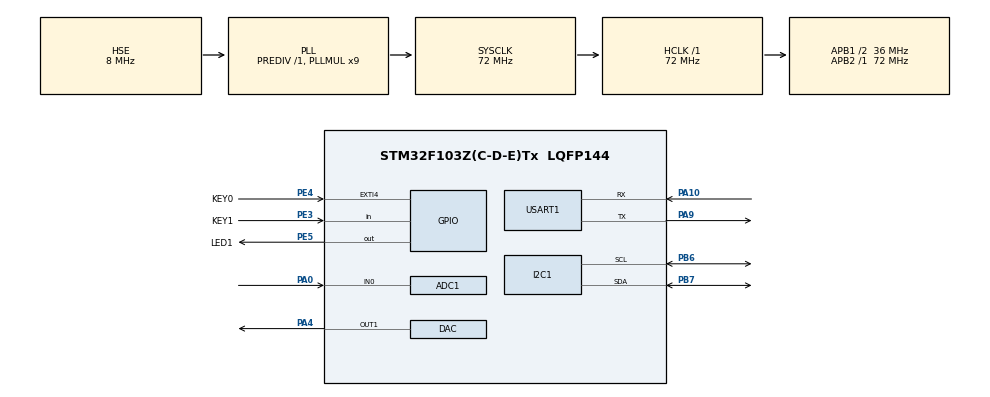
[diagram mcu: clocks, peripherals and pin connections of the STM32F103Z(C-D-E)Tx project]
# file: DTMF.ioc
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ADC1.Channel-0\#ChannelRegularConversion=ADC_CHANNEL_0
ADC1.ContinuousConvMode=ENABLE
ADC1.NbrOfConversion=1
ADC1.NbrOfConversionFlag=1
ADC1.Rank-0\#ChannelRegularConversion=1
ADC1.SamplingTime-0\#ChannelRegularConversion=ADC_SAMPLETIME_239CYCLES_5
ADC1.master=1
Mcu.Family=STM32F1
Mcu.Name=STM32F103Z(C-D-E)Tx
Mcu.Package=LQFP144
NVIC.PriorityGroup=NVIC_PRIORITYGROUP_4
NVIC.TIM6_IRQn=true\:0\:0\:false\:false\:true\:true\:true\:true
NVIC.TIM7_IRQn=true\:2\:0\:true\:false\:true\:true\:true\:true
NVIC.USART1_IRQn=true\:0\:0\:false\:false\:true\:true\:true\:true
OSC_IN.Mode=HSE-External-Oscillator
OSC_IN.Signal=RCC_OSC_IN
OSC_OUT.Mode=HSE-External-Oscillator
OSC_OUT.Signal=RCC_OSC_OUT
PA0-WKUP.Signal=ADCx_IN0
PA10.Mode=Asynchronous
PA10.Signal=USART1_RX
PA13.Mode=Serial_Wire
PA13.Signal=SYS_JTMS-SWDIO
PA14.Mode=Serial_Wire
PA14.Signal=SYS_JTCK-SWCLK
PA4.Signal=COMP_DAC1_group
PA9.Mode=Asynchronous
PA9.Signal=USART1_TX
PB6.Mode=I2C
PB6.Signal=I2C1_SCL
PB7.Mode=I2C
PB7.Signal=I2C1_SDA
PE3.GPIO_Label=KEY1
PE3.GPIO_PuPd=GPIO_PULLUP
PE3.Signal=GPIO_Input
PE4.GPIO_Label=KEY0
PE4.GPIO_PuPd=GPIO_PULLUP
PE4.Signal=GPXTI4
PE5.GPIO_Label=LED1
PE5.PinState=GPIO_PIN_SET
PE5.Signal=GPIO_Output
ProjectManager.HeapSize=0x200
ProjectManager.StackSize=0x400
ProjectManager.TargetToolchain=MDK-ARM V5.32
RCC.ADCPresc=RCC_ADCPCLK2_DIV6
RCC.AHBFreq_Value=72000000
RCC.APB1CLKDivider=RCC_HCLK_DIV2
RCC.APB1Freq_Value=36000000
RCC.APB1TimFreq_Value=72000000
RCC.APB2Freq_Value=72000000
RCC.APB2TimFreq_Value=72000000
RCC.HCLKFreq_Value=72000000
RCC.PLLMUL=RCC_PLL_MUL9
RCC.PLLSourceVirtual=RCC_PLLSOURCE_HSE
RCC.SYSCLKFreq_VALUE=72000000
RCC.SYSCLKSource=RCC_SYSCLKSOURCE_PLLCLK
RCC.USBFreq_Value=72000000
SH.ADCx_IN0.0=ADC1_IN0,IN0
SH.COMP_DAC1_group.0=DAC_OUT1,DAC_OUT1
TIM6.Period=1000-1
TIM6.Prescaler=72-1
TIM7.Period=1000-1
TIM7.Prescaler=9-1
USART1.VirtualMode=VM_ASYNC
VP_TIM6_VS_ClockSourceINT.Mode=Enable_Timer
VP_TIM7_VS_ClockSourceINT.Mode=Enable_Timer
board=custom

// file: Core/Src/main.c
/* USER CODE BEGIN Header */
/**
  ******************************************************************************
  * @file           : main.c
  * @brief          : Main program body
  ******************************************************************************
  * @attention
  *
  * Copyright (c) 2022 STMicroelectronics.
  * All rights reserved.
  *
  * This software is licensed under terms that can be found in the LICENSE file
  * in the root directory of this software component.
  * If no LICENSE file comes with this software, it is provided AS-IS.
  *
  ******************************************************************************
  */
/* USER CODE END Header */
#include "main.h"
#include "adc.h"
#include "dac.h"
#include "i2c.h"
#include "tim.h"
#include "usart.h"
#include "gpio.h"

/* USER CODE BEGIN Includes */
#include "oled.h"
#include "task.h"
#include "DTMF.h"
#include "stdio.h"
/* USER CODE END Includes */

void SystemClock_Config(void);
/* USER CODE BEGIN PFP */
uint8_t flag = 0;
uint8_t playing_flag = 0;
/* USER CODE END PFP */

/* USER CODE BEGIN 0 */
uint16_t buffer[16000];
/* USER CODE END 0 */

int main(void)
{

  /* MCU Configuration--------------------------------------------------------*/

  /* Reset of all peripherals, Initializes the Flash interface and the Systick. */
  HAL_Init();

  /* Configure the system clock */
  SystemClock_Config();

  /* Initialize all configured peripherals */
  MX_GPIO_Init();
  MX_I2C1_Init();
  MX_TIM6_Init();
  MX_ADC1_Init();
  MX_TIM7_Init();
  MX_USART1_UART_Init();
  MX_DAC_Init();
  /* USER CODE BEGIN 2 */
	HAL_TIM_Base_Start_IT(&htim6);
	HAL_TIM_Base_Start_IT(&htim7);
	HAL_ADCEx_Calibration_Start(&hadc1);
	HAL_ADC_Start(&hadc1);
	HAL_DAC_Start(&hdac,DAC_CHANNEL_1);

	OLED_Init();
	OLED_Clear();

  /* USER CODE END 2 */

  /* Infinite loop */
  while (1)
  {

    /* USER CODE BEGIN 3 */
		if(flag == 1)
		{
			flag = 0;
			AllTask();
		}
  }
  /* USER CODE END 3 */
}

void SystemClock_Config(void)
{
  RCC_OscInitTypeDef RCC_OscInitStruct = {0};
  RCC_ClkInitTypeDef RCC_ClkInitStruct = {0};
  RCC_PeriphCLKInitTypeDef PeriphClkInit = {0};

  /** Initializes the RCC Oscillators according to the specified parameters
  * in the RCC_OscInitTypeDef structure.
  */
  RCC_OscInitStruct.OscillatorType = RCC_OSCILLATORTYPE_HSE;
  RCC_OscInitStruct.HSEState = RCC_HSE_ON;
  RCC_OscInitStruct.HSEPredivValue = RCC_HSE_PREDIV_DIV1;
  RCC_OscInitStruct.HSIState = RCC_HSI_ON;
  RCC_OscInitStruct.PLL.PLLState = RCC_PLL_ON;
  RCC_OscInitStruct.PLL.PLLSource = RCC_PLLSOURCE_HSE;
  RCC_OscInitStruct.PLL.PLLMUL = RCC_PLL_MUL9;
  if (HAL_RCC_OscConfig(&RCC_OscInitStruct) != HAL_OK)
  {
    Error_Handler();
  }

  /** Initializes the CPU, AHB and APB buses clocks
  */
  RCC_ClkInitStruct.ClockType = RCC_CLOCKTYPE_HCLK|RCC_CLOCKTYPE_SYSCLK
                              |RCC_CLOCKTYPE_PCLK1|RCC_CLOCKTYPE_PCLK2;
  RCC_ClkInitStruct.SYSCLKSource = RCC_SYSCLKSOURCE_PLLCLK;
  RCC_ClkInitStruct.AHBCLKDivider = RCC_SYSCLK_DIV1;
  RCC_ClkInitStruct.APB1CLKDivider = RCC_HCLK_DIV2;
  RCC_ClkInitStruct.APB2CLKDivider = RCC_HCLK_DIV1;

  if (HAL_RCC_ClockConfig(&RCC_ClkInitStruct, FLASH_LATENCY_2) != HAL_OK)
  {
    Error_Handler();
  }
  PeriphClkInit.PeriphClockSelection = RCC_PERIPHCLK_ADC;
  PeriphClkInit.AdcClockSelection = RCC_ADCPCLK2_DIV6;
  if (HAL_RCCEx_PeriphCLKConfig(&PeriphClkInit) != HAL_OK)
  {
    Error_Handler();
  }
}

/* USER CODE BEGIN 4 */
int ADC_ConvData=0;
uint32_t value = 0;
void HAL_TIM_PeriodElapsedCallback(TIM_HandleTypeDef *htim)
{
	static uint16_t i = 0;
	static uint8_t time = 0;
	static uint8_t N_NextCode = 0;
	if(htim->Instance == TIM6)
	{
		flag = 1;
		//printf("%d\r\n ", ADC_ConvData-2048);
	}
	if(htim->Instance == TIM7)
	{
		ADC_ConvData=HAL_ADC_GetValue(&hadc1);

		HAL_DAC_SetValue(&hdac, DAC_CHANNEL_1, DAC_ALIGN_12B_R, 3096);
		time++;
		if(key_value==0)
		{

			playing_flag = 0;

			if(ADC_ConvData<0x377)	//0x377 == D(887) 用于判断是否是静音，887是认为设定的AD阀值
			{
				N_NextCode++;
			}

			if(time==160)	//160次相当于20ms
			{
				if(N_NextCode >= 152)  next_code=1;	//当20ms内有95%的值小于门限值，则认为有静音，可以判定有下一个码值
				time=0;	  //20ms后各个值复位
				N_NextCode=0;
			}

//		filter_ADCData=filter(b,48, (float)ADC_ConvData);
//		printf("%f  \n", filter_ADCData);
//		DTMF_Decode(filter_ADCData);
     	DTMF_Decode(ADC_ConvData - 2048);

			if(N_decode>110) N_decode = 1;	 //抗噪声8db
		}
		else if(playing_flag == 1)
		{
			if(value < 16000)
				buffer[value++] = (ADC_ConvData - 2048) * 7 + 2048;
			else if(value >= 16000)
			{
				HAL_DAC_SetValue(&hdac, DAC_CHANNEL_1, DAC_ALIGN_12B_R, buffer[i]);
				i++;
				if(i>=16000)
				{
					i = 0;
					playing_flag = 0;
				}
			}
		}
	}
}

int fputc(int ch,FILE *f)
{
	HAL_UART_Transmit (&huart1 ,(uint8_t *)&ch,1,HAL_MAX_DELAY );
	return ch;
}

/* USER CODE END 4 */

void Error_Handler(void)
{
  __disable_irq();
  while (1)
  {
  }
}
